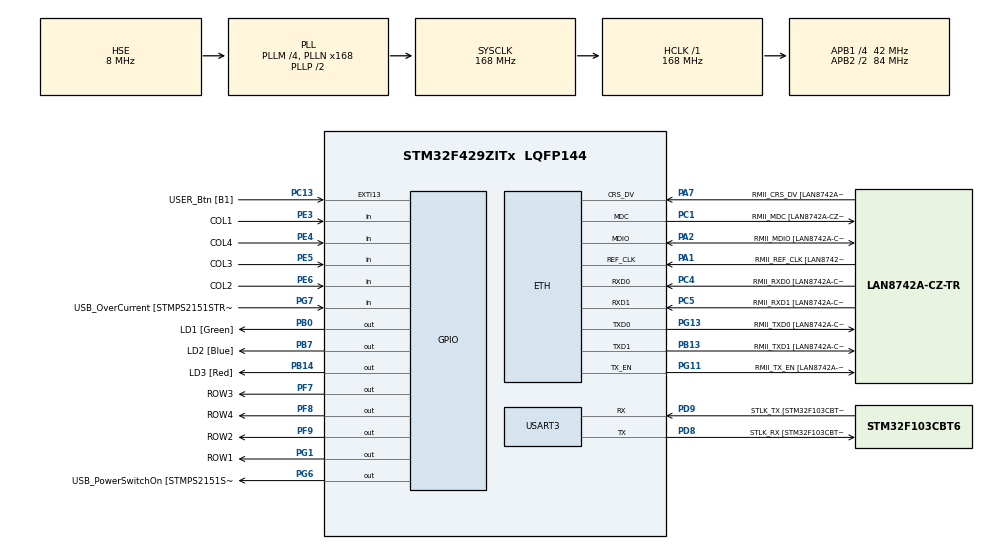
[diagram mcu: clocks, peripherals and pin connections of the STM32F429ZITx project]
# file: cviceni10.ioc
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ETH.MediaInterface=HAL_ETH_RMII_MODE
ETH.PHY_Name=LAN8742A_PHY_ADDRESS
ETH.PHY_Value=0
ETH.PhyAddress=0
Mcu.Family=STM32F4
Mcu.Name=STM32F429ZITx
Mcu.Package=LQFP144
NVIC.PriorityGroup=NVIC_PRIORITYGROUP_4
NVIC.TIM3_IRQn=true\:0\:0\:false\:false\:true\:true\:true\:true
PA1.GPIO_Label=RMII_REF_CLK [LAN8742A-CZ-TR_REFCLK0]
PA1.Mode=RMII
PA1.Signal=ETH_REF_CLK
PA10.GPIO_Label=USB_ID
PA10.Signal=USB_OTG_FS_ID
PA11.GPIO_Label=USB_DM
PA11.Signal=USB_OTG_FS_DM
PA12.GPIO_Label=USB_DP
PA12.Signal=USB_OTG_FS_DP
PA13.GPIO_Label=TMS
PA13.Mode=Serial_Wire
PA13.Signal=SYS_JTMS-SWDIO
PA14.GPIO_Label=TCK
PA14.Mode=Serial_Wire
PA14.Signal=SYS_JTCK-SWCLK
PA2.GPIO_Label=RMII_MDIO [LAN8742A-CZ-TR_MDIO]
PA2.Mode=RMII
PA2.Signal=ETH_MDIO
PA7.GPIO_Label=RMII_CRS_DV [LAN8742A-CZ-TR_CRS_DV]
PA7.Mode=RMII
PA7.Signal=ETH_CRS_DV
PA8.GPIO_Label=USB_SOF [TP1]
PA8.Signal=USB_OTG_FS_SOF
PA9.GPIO_Label=USB_VBUS
PA9.Signal=USB_OTG_FS_VBUS
PB0.GPIO_Label=LD1 [Green]
PB0.Signal=GPIO_Output
PB13.GPIO_Label=RMII_TXD1 [LAN8742A-CZ-TR_TXD1]
PB13.Mode=RMII
PB13.Signal=ETH_TXD1
PB14.GPIO_Label=LD3 [Red]
PB14.Signal=GPIO_Output
PB7.GPIO_Label=LD2 [Blue]
PB7.Signal=GPIO_Output
PC1.GPIO_Label=RMII_MDC [LAN8742A-CZ-TR_MDC]
PC1.Mode=RMII
PC1.Signal=ETH_MDC
PC13.GPIO_Label=USER_Btn [B1]
PC13.Signal=GPXTI13
PC14/OSC32_IN.Mode=LSE-External-Oscillator
PC14/OSC32_IN.Signal=RCC_OSC32_IN
PC15/OSC32_OUT.Mode=LSE-External-Oscillator
PC15/OSC32_OUT.Signal=RCC_OSC32_OUT
PC4.GPIO_Label=RMII_RXD0 [LAN8742A-CZ-TR_RXD0]
PC4.Mode=RMII
PC4.Signal=ETH_RXD0
PC5.GPIO_Label=RMII_RXD1 [LAN8742A-CZ-TR_RXD1]
PC5.Mode=RMII
PC5.Signal=ETH_RXD1
PD8.GPIO_Label=STLK_RX [STM32F103CBT6_PA3]
PD8.Mode=Asynchronous
PD8.Signal=USART3_TX
PD9.GPIO_Label=STLK_TX [STM32F103CBT6_PA2]
PD9.Mode=Asynchronous
PD9.Signal=USART3_RX
PE3.GPIO_Label=COL1
PE3.GPIO_PuPd=GPIO_PULLUP
PE3.Signal=GPIO_Input
PE4.GPIO_Label=COL4
PE4.GPIO_PuPd=GPIO_PULLUP
PE4.Signal=GPIO_Input
PE5.GPIO_Label=COL3
PE5.GPIO_PuPd=GPIO_PULLUP
PE5.Signal=GPIO_Input
PE6.GPIO_Label=COL2
PE6.GPIO_PuPd=GPIO_PULLUP
PE6.Signal=GPIO_Input
PF7.GPIO_Label=ROW3
PF7.GPIO_ModeDefaultOutputPP=GPIO_MODE_OUTPUT_OD
PF7.GPIO_PuPd=GPIO_NOPULL
PF7.Signal=GPIO_Output
PF8.GPIO_Label=ROW4
PF8.GPIO_ModeDefaultOutputPP=GPIO_MODE_OUTPUT_OD
PF8.GPIO_PuPd=GPIO_NOPULL
PF8.Signal=GPIO_Output
PF9.GPIO_Label=ROW2
PF9.GPIO_ModeDefaultOutputPP=GPIO_MODE_OUTPUT_OD
PF9.GPIO_PuPd=GPIO_NOPULL
PF9.Signal=GPIO_Output
PG1.GPIO_Label=ROW1
PG1.GPIO_ModeDefaultOutputPP=GPIO_MODE_OUTPUT_OD
PG1.GPIO_PuPd=GPIO_NOPULL
PG1.Signal=GPIO_Output
PG11.GPIO_Label=RMII_TX_EN [LAN8742A-CZ-TR_TXEN]
PG11.Mode=RMII
PG11.Signal=ETH_TX_EN
PG13.GPIO_Label=RMII_TXD0 [LAN8742A-CZ-TR_TXD0]
PG13.Mode=RMII
PG13.Signal=ETH_TXD0
PG6.GPIO_Label=USB_PowerSwitchOn [STMPS2151STR_EN]
PG6.Signal=GPIO_Output
PG7.GPIO_Label=USB_OverCurrent [STMPS2151STR_FAULT]
PG7.Signal=GPIO_Input
PH0/OSC_IN.GPIO_Label=MCO [STM32F103CBT6_PA8]
PH0/OSC_IN.Mode=HSE-External-Clock-Source
PH0/OSC_IN.Signal=RCC_OSC_IN
PH1/OSC_OUT.Mode=HSE-External-Clock-Source
PH1/OSC_OUT.Signal=RCC_OSC_OUT
ProjectManager.HeapSize=0x200
ProjectManager.StackSize=0x400
ProjectManager.TargetToolchain=STM32CubeIDE
RCC.48MHZClocksFreq_Value=48000000
RCC.AHBFreq_Value=168000000
RCC.APB1CLKDivider=RCC_HCLK_DIV4
RCC.APB1Freq_Value=42000000
RCC.APB1TimFreq_Value=84000000
RCC.APB2CLKDivider=RCC_HCLK_DIV2
RCC.APB2Freq_Value=84000000
RCC.APB2TimCLKDivider=2
RCC.APB2TimFreq_Value=168000000
RCC.CortexFreq_Value=168000000
RCC.HCLKFreq_Value=168000000
RCC.HSE_VALUE=8000000
RCC.HSI_VALUE=16000000
RCC.PLLM=4
RCC.PLLMUL=RCC_PLL_MUL9
RCC.PLLN=168
RCC.PLLQ=7
RCC.PLLSourceVirtual=RCC_PLLSOURCE_HSE
RCC.PRESCALERUSB=RCC_USBCLKSOURCE_PLL_DIV1_5
RCC.SYSCLKFreq_VALUE=168000000
RCC.SYSCLKSource=RCC_SYSCLKSOURCE_PLLCLK
RCC.SYSCLKSourceVirtual=RCC_SYSCLKSOURCE_PLLCLK
RCC.USBFreq_Value=48000000
RCC.VCOOutputFreq_Value=336000000
TIM3.Period=99
TIM3.Prescaler=8399
USART3.VirtualMode=VM_ASYNC
VP_TIM3_VS_ClockSourceINT.Mode=Internal
board=NUCLEO-F429ZI

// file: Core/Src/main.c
/* USER CODE BEGIN Header */
/**
  ******************************************************************************
  * @file           : main.c
  * @brief          : Main program body
  ******************************************************************************
  * @attention
  *
  * Copyright (c) 2023 STMicroelectronics.
  * All rights reserved.
  *
  * This software is licensed under terms that can be found in the LICENSE file
  * in the root directory of this software component.
  * If no LICENSE file comes with this software, it is provided AS-IS.
  *
  ******************************************************************************
  */
/* USER CODE END Header */
#include "main.h"
#include "string.h"

/* USER CODE BEGIN Includes */
#include <stdio.h>
/* USER CODE END Includes */

/* USER CODE BEGIN PTD */
#define PWD_LEN 5
/* USER CODE END PTD */

ETH_TxPacketConfig TxConfig;
ETH_DMADescTypeDef  DMARxDscrTab[ETH_RX_DESC_CNT]; /* Ethernet Rx DMA Descriptors */
ETH_DMADescTypeDef  DMATxDscrTab[ETH_TX_DESC_CNT]; /* Ethernet Tx DMA Descriptors */

ETH_HandleTypeDef heth;

TIM_HandleTypeDef htim3;

UART_HandleTypeDef huart3;

/* USER CODE BEGIN PV */

static int16_t key;
/* USER CODE END PV */

void SystemClock_Config(void);
static void MX_GPIO_Init(void);
static void MX_ETH_Init(void);
static void MX_USART3_UART_Init(void);
static void MX_TIM3_Init(void);
/* USER CODE BEGIN PFP */

uint8_t compare(const uint8_t *f, const uint8_t *s, uint8_t size)
{
	for (uint8_t i = 0; i < size; i++)  {
		if (f[i] != s[i])  {
			return 1;
		}
	}
	return 0;
}

void lock(int8_t number)
{
	const uint8_t password[PWD_LEN] = {2, 4, 6, 2, 3};
	static uint8_t seq[PWD_LEN];
	static uint32_t counter;
	const uint16_t delay = 3000;
	static uint8_t i = 0;

	static enum {IDLE, GET_SEQ, RESULT} state;

	if (HAL_GetTick() > counter + delay && state != IDLE)  {
		state = IDLE;
		printf("LOCK: Timeout! Going to IDLE...\n");
		i = 0;
		return;
	}

	switch(state)
	{
	case IDLE:
		if (number != -1)  {
			printf("LOCK: Stisk %d\n", number);
			seq[i] = number;
			state++;
			i++;
		}

		counter = HAL_GetTick();
		break;

	case GET_SEQ:

		if (number != -1)  {
			printf("LOCK: Stisk %d\n", number);
			seq[i] = number;
			counter = HAL_GetTick();
			i++;
		}

		if (i == 5)  {
			state++;
		}

		break;

	case RESULT:

		if (compare(seq, password, PWD_LEN) == 0)  {
			HAL_GPIO_WritePin(LD1_GPIO_Port, LD1_Pin, GPIO_PIN_SET);
			printf("thats it!\n");
		}
		else  {
			printf("Wrong password...\n");
			HAL_GPIO_WritePin(LD1_GPIO_Port, LD1_Pin, GPIO_PIN_RESET);
		}

		state = IDLE;
		i = 0;
		break;
	}

}

/* USER CODE END PFP */

/* USER CODE BEGIN 0 */
int __io_putchar(int ch)
{
	ITM_SendChar(ch);
	return 0;
}
/* USER CODE END 0 */

int main(void)
{

  /* MCU Configuration--------------------------------------------------------*/

  /* Reset of all peripherals, Initializes the Flash interface and the Systick. */
  HAL_Init();

  /* Configure the system clock */
  SystemClock_Config();

  /* Initialize all configured peripherals */
  MX_GPIO_Init();
  MX_ETH_Init();
  MX_USART3_UART_Init();
  MX_TIM3_Init();
  /* USER CODE BEGIN 2 */
  HAL_TIM_Base_Start_IT(&htim3);
  key = -1;
  /* USER CODE END 2 */

  /* Infinite loop */
  while (1)
  {

    /* USER CODE BEGIN 3 */

	    lock(key);
		HAL_Delay(50);
		key = -1;

		HAL_Delay(700);

  }
  /* USER CODE END 3 */
}

void SystemClock_Config(void)
{
  RCC_OscInitTypeDef RCC_OscInitStruct = {0};
  RCC_ClkInitTypeDef RCC_ClkInitStruct = {0};

  /** Configure the main internal regulator output voltage
  */
  __HAL_RCC_PWR_CLK_ENABLE();
  __HAL_PWR_VOLTAGESCALING_CONFIG(PWR_REGULATOR_VOLTAGE_SCALE1);

  /** Initializes the RCC Oscillators according to the specified parameters
  * in the RCC_OscInitTypeDef structure.
  */
  RCC_OscInitStruct.OscillatorType = RCC_OSCILLATORTYPE_HSE;
  RCC_OscInitStruct.HSEState = RCC_HSE_BYPASS;
  RCC_OscInitStruct.PLL.PLLState = RCC_PLL_ON;
  RCC_OscInitStruct.PLL.PLLSource = RCC_PLLSOURCE_HSE;
  RCC_OscInitStruct.PLL.PLLM = 4;
  RCC_OscInitStruct.PLL.PLLN = 168;
  RCC_OscInitStruct.PLL.PLLP = RCC_PLLP_DIV2;
  RCC_OscInitStruct.PLL.PLLQ = 7;
  if (HAL_RCC_OscConfig(&RCC_OscInitStruct) != HAL_OK)
  {
    Error_Handler();
  }

  /** Initializes the CPU, AHB and APB buses clocks
  */
  RCC_ClkInitStruct.ClockType = RCC_CLOCKTYPE_HCLK|RCC_CLOCKTYPE_SYSCLK
                              |RCC_CLOCKTYPE_PCLK1|RCC_CLOCKTYPE_PCLK2;
  RCC_ClkInitStruct.SYSCLKSource = RCC_SYSCLKSOURCE_PLLCLK;
  RCC_ClkInitStruct.AHBCLKDivider = RCC_SYSCLK_DIV1;
  RCC_ClkInitStruct.APB1CLKDivider = RCC_HCLK_DIV4;
  RCC_ClkInitStruct.APB2CLKDivider = RCC_HCLK_DIV2;

  if (HAL_RCC_ClockConfig(&RCC_ClkInitStruct, FLASH_LATENCY_5) != HAL_OK)
  {
    Error_Handler();
  }
}

static void MX_ETH_Init(void)
{

   static uint8_t MACAddr[6];

  heth.Instance = ETH;
  MACAddr[0] = 0x00;
  MACAddr[1] = 0x80;
  MACAddr[2] = 0xE1;
  MACAddr[3] = 0x00;
  MACAddr[4] = 0x00;
  MACAddr[5] = 0x00;
  heth.Init.MACAddr = &MACAddr[0];
  heth.Init.MediaInterface = HAL_ETH_RMII_MODE;
  heth.Init.TxDesc = DMATxDscrTab;
  heth.Init.RxDesc = DMARxDscrTab;
  heth.Init.RxBuffLen = 1524;

  if (HAL_ETH_Init(&heth) != HAL_OK)
  {
    Error_Handler();
  }

  memset(&TxConfig, 0 , sizeof(ETH_TxPacketConfig));
  TxConfig.Attributes = ETH_TX_PACKETS_FEATURES_CSUM | ETH_TX_PACKETS_FEATURES_CRCPAD;
  TxConfig.ChecksumCtrl = ETH_CHECKSUM_IPHDR_PAYLOAD_INSERT_PHDR_CALC;
  TxConfig.CRCPadCtrl = ETH_CRC_PAD_INSERT;

}

static void MX_TIM3_Init(void)
{

  TIM_ClockConfigTypeDef sClockSourceConfig = {0};
  TIM_MasterConfigTypeDef sMasterConfig = {0};

  htim3.Instance = TIM3;
  htim3.Init.Prescaler = 8399;
  htim3.Init.CounterMode = TIM_COUNTERMODE_UP;
  htim3.Init.Period = 99;
  htim3.Init.ClockDivision = TIM_CLOCKDIVISION_DIV1;
  htim3.Init.AutoReloadPreload = TIM_AUTORELOAD_PRELOAD_DISABLE;
  if (HAL_TIM_Base_Init(&htim3) != HAL_OK)
  {
    Error_Handler();
  }
  sClockSourceConfig.ClockSource = TIM_CLOCKSOURCE_INTERNAL;
  if (HAL_TIM_ConfigClockSource(&htim3, &sClockSourceConfig) != HAL_OK)
  {
    Error_Handler();
  }
  sMasterConfig.MasterOutputTrigger = TIM_TRGO_RESET;
  sMasterConfig.MasterSlaveMode = TIM_MASTERSLAVEMODE_DISABLE;
  if (HAL_TIMEx_MasterConfigSynchronization(&htim3, &sMasterConfig) != HAL_OK)
  {
    Error_Handler();
  }

}

static void MX_USART3_UART_Init(void)
{

  huart3.Instance = USART3;
  huart3.Init.BaudRate = 115200;
  huart3.Init.WordLength = UART_WORDLENGTH_8B;
  huart3.Init.StopBits = UART_STOPBITS_1;
  huart3.Init.Parity = UART_PARITY_NONE;
  huart3.Init.Mode = UART_MODE_TX_RX;
  huart3.Init.HwFlowCtl = UART_HWCONTROL_NONE;
  huart3.Init.OverSampling = UART_OVERSAMPLING_16;
  if (HAL_UART_Init(&huart3) != HAL_OK)
  {
    Error_Handler();
  }

}

static void MX_GPIO_Init(void)
{
  GPIO_InitTypeDef GPIO_InitStruct = {0};

  /* GPIO Ports Clock Enable */
  __HAL_RCC_GPIOE_CLK_ENABLE();
  __HAL_RCC_GPIOC_CLK_ENABLE();
  __HAL_RCC_GPIOF_CLK_ENABLE();
  __HAL_RCC_GPIOH_CLK_ENABLE();
  __HAL_RCC_GPIOA_CLK_ENABLE();
  __HAL_RCC_GPIOB_CLK_ENABLE();
  __HAL_RCC_GPIOG_CLK_ENABLE();
  __HAL_RCC_GPIOD_CLK_ENABLE();

  /*Configure GPIO pin Output Level */
  HAL_GPIO_WritePin(GPIOF, ROW3_Pin|ROW4_Pin|ROW2_Pin, GPIO_PIN_RESET);

  /*Configure GPIO pin Output Level */
  HAL_GPIO_WritePin(GPIOB, LD1_Pin|LD3_Pin|LD2_Pin, GPIO_PIN_RESET);

  /*Configure GPIO pin Output Level */
  HAL_GPIO_WritePin(GPIOG, ROW1_Pin|USB_PowerSwitchOn_Pin, GPIO_PIN_RESET);

  /*Configure GPIO pins : COL1_Pin COL4_Pin COL3_Pin COL2_Pin */
  GPIO_InitStruct.Pin = COL1_Pin|COL4_Pin|COL3_Pin|COL2_Pin;
  GPIO_InitStruct.Mode = GPIO_MODE_INPUT;
  GPIO_InitStruct.Pull = GPIO_PULLUP;
  HAL_GPIO_Init(GPIOE, &GPIO_InitStruct);

  /*Configure GPIO pin : USER_Btn_Pin */
  GPIO_InitStruct.Pin = USER_Btn_Pin;
  GPIO_InitStruct.Mode = GPIO_MODE_IT_RISING;
  GPIO_InitStruct.Pull = GPIO_NOPULL;
  HAL_GPIO_Init(USER_Btn_GPIO_Port, &GPIO_InitStruct);

  /*Configure GPIO pins : ROW3_Pin ROW4_Pin ROW2_Pin */
  GPIO_InitStruct.Pin = ROW3_Pin|ROW4_Pin|ROW2_Pin;
  GPIO_InitStruct.Mode = GPIO_MODE_OUTPUT_OD;
  GPIO_InitStruct.Pull = GPIO_NOPULL;
  GPIO_InitStruct.Speed = GPIO_SPEED_FREQ_LOW;
  HAL_GPIO_Init(GPIOF, &GPIO_InitStruct);

  /*Configure GPIO pins : LD1_Pin LD3_Pin LD2_Pin */
  GPIO_InitStruct.Pin = LD1_Pin|LD3_Pin|LD2_Pin;
  GPIO_InitStruct.Mode = GPIO_MODE_OUTPUT_PP;
  GPIO_InitStruct.Pull = GPIO_NOPULL;
  GPIO_InitStruct.Speed = GPIO_SPEED_FREQ_LOW;
  HAL_GPIO_Init(GPIOB, &GPIO_InitStruct);

  /*Configure GPIO pin : ROW1_Pin */
  GPIO_InitStruct.Pin = ROW1_Pin;
  GPIO_InitStruct.Mode = GPIO_MODE_OUTPUT_OD;
  GPIO_InitStruct.Pull = GPIO_NOPULL;
  GPIO_InitStruct.Speed = GPIO_SPEED_FREQ_LOW;
  HAL_GPIO_Init(ROW1_GPIO_Port, &GPIO_InitStruct);

  /*Configure GPIO pin : USB_PowerSwitchOn_Pin */
  GPIO_InitStruct.Pin = USB_PowerSwitchOn_Pin;
  GPIO_InitStruct.Mode = GPIO_MODE_OUTPUT_PP;
  GPIO_InitStruct.Pull = GPIO_NOPULL;
  GPIO_InitStruct.Speed = GPIO_SPEED_FREQ_LOW;
  HAL_GPIO_Init(USB_PowerSwitchOn_GPIO_Port, &GPIO_InitStruct);

  /*Configure GPIO pin : USB_OverCurrent_Pin */
  GPIO_InitStruct.Pin = USB_OverCurrent_Pin;
  GPIO_InitStruct.Mode = GPIO_MODE_INPUT;
  GPIO_InitStruct.Pull = GPIO_NOPULL;
  HAL_GPIO_Init(USB_OverCurrent_GPIO_Port, &GPIO_InitStruct);

  /*Configure GPIO pins : USB_SOF_Pin USB_ID_Pin USB_DM_Pin USB_DP_Pin */
  GPIO_InitStruct.Pin = USB_SOF_Pin|USB_ID_Pin|USB_DM_Pin|USB_DP_Pin;
  GPIO_InitStruct.Mode = GPIO_MODE_AF_PP;
  GPIO_InitStruct.Pull = GPIO_NOPULL;
  GPIO_InitStruct.Speed = GPIO_SPEED_FREQ_VERY_HIGH;
  GPIO_InitStruct.Alternate = GPIO_AF10_OTG_FS;
  HAL_GPIO_Init(GPIOA, &GPIO_InitStruct);

  /*Configure GPIO pin : USB_VBUS_Pin */
  GPIO_InitStruct.Pin = USB_VBUS_Pin;
  GPIO_InitStruct.Mode = GPIO_MODE_INPUT;
  GPIO_InitStruct.Pull = GPIO_NOPULL;
  HAL_GPIO_Init(USB_VBUS_GPIO_Port, &GPIO_InitStruct);

}

/* USER CODE BEGIN 4 */
void HAL_TIM_PeriodElapsedCallback(TIM_HandleTypeDef *htim)
{
	static int row = 0;
	static const int keyboard[4][4] = {
										{ 1, 2, 3, 21 },
										{ 4, 5, 6, 22 },
										{ 7, 8, 9, 23 },
										{ 11, 0, 12, 24 },
									  };
	if (key == -1) {
		if (HAL_GPIO_ReadPin(COL1_GPIO_Port, COL1_Pin) == GPIO_PIN_RESET) key = keyboard[row][0];
		if (HAL_GPIO_ReadPin(COL2_GPIO_Port, COL2_Pin) == GPIO_PIN_RESET) key = keyboard[row][1];
		if (HAL_GPIO_ReadPin(COL3_GPIO_Port, COL3_Pin) == GPIO_PIN_RESET) key = keyboard[row][2];
		if (HAL_GPIO_ReadPin(COL4_GPIO_Port, COL4_Pin) == GPIO_PIN_RESET) key = keyboard[row][3];
		}
	HAL_GPIO_WritePin(ROW1_GPIO_Port, ROW1_Pin, GPIO_PIN_SET);
	HAL_GPIO_WritePin(ROW2_GPIO_Port, ROW2_Pin, GPIO_PIN_SET);
	HAL_GPIO_WritePin(ROW3_GPIO_Port, ROW3_Pin, GPIO_PIN_SET);
	HAL_GPIO_WritePin(ROW4_GPIO_Port, ROW4_Pin, GPIO_PIN_SET);

	switch (row) {
	case 0: row = 1; HAL_GPIO_WritePin(ROW2_GPIO_Port, ROW2_Pin, GPIO_PIN_RESET); break;
	case 1: row = 2; HAL_GPIO_WritePin(ROW3_GPIO_Port, ROW3_Pin, GPIO_PIN_RESET); break;
	case 2: row = 3; HAL_GPIO_WritePin(ROW4_GPIO_Port, ROW4_Pin, GPIO_PIN_RESET); break;
	case 3: row = 0; HAL_GPIO_WritePin(ROW1_GPIO_Port, ROW1_Pin, GPIO_PIN_RESET); break;
	}

}
/* USER CODE END 4 */

void Error_Handler(void)
{
  __disable_irq();
  while (1)
  {
  }
}
